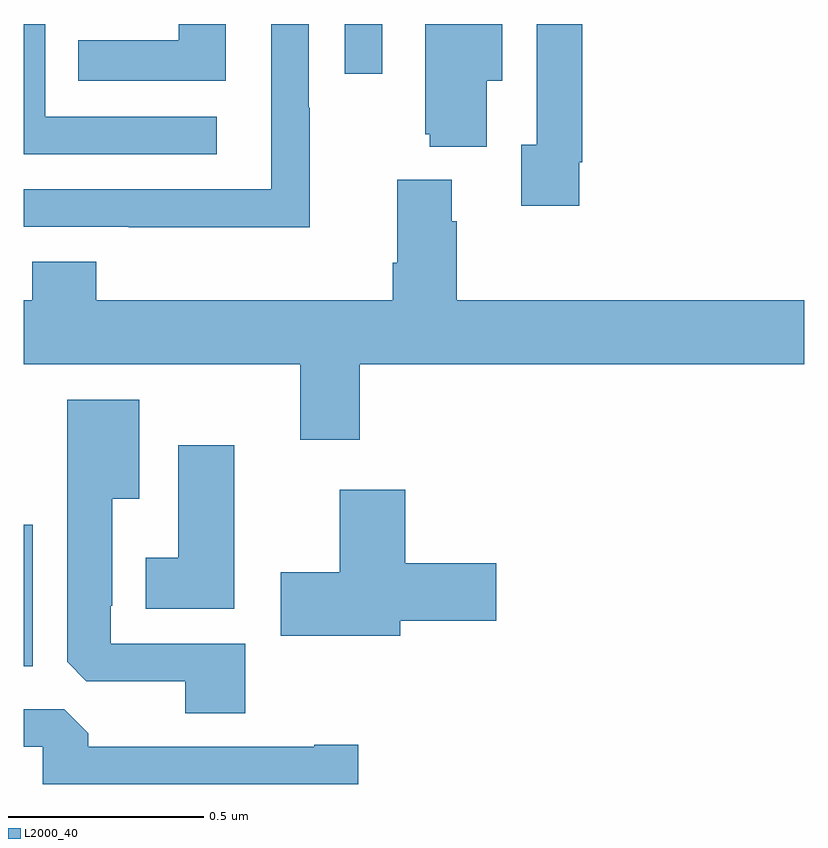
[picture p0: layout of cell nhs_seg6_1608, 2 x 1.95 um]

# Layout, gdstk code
import gdstk
lib = gdstk.Library(unit=1e-6, precision=1e-09)
def R(c, l, rs):  # rectangles x0, y0, x1, y1
    for r in rs: c.add(gdstk.rectangle(r[:2], r[2:], *l))
def P(c, l, *ps):  # polygons
    for p in ps: c.add(gdstk.Polygon(p, *l))
L2000_40 = (2000, 40)

nhs_seg6_1608 = lib.new_cell('nhs_seg6_1608')
R(nhs_seg6_1608, L2000_40, [(131,987.854,131.023,988.216), (131.823,989.373,131.919,989.5)])
P(nhs_seg6_1608, L2000_40, [(131.733,989.285),(131.73,989.285),(131.73,989.5),(131.634,989.5),(131.634,989.076),(131,989.076),(131,988.98),(131.269,988.98),(131.269,988.979),(131.733,988.979)],
  [(132.187,989.354),(132.226,989.354),(132.226,989.5),(132.029,989.5),(132.029,989.217),(132.041,989.217),(132.041,989.186),(132.187,989.186)],
  [(131.518,989.5),(131.397,989.5),(131.397,989.458),(131.14,989.458),(131.14,989.354),(131.518,989.354)],
  [(131.494,989.262),(131.055,989.262),(131.055,989.5),(131,989.5),(131,989.166),(131.494,989.166)],
  [(132.424,989.146),(132.431,989.146),(132.431,989.5),(132.315,989.5),(132.315,989.19),(132.275,989.19),(132.275,989.034),(132.424,989.034)],
  [(131.861,988.628),(133,988.628),(133,988.792),(132.11,988.792),(132.11,988.994),(132.097,988.994),(132.097,989.101),(131.957,989.101),(131.957,988.888),(131.945,988.888),(131.945,988.792),(131.186,988.792),(131.186,988.891),(131.021,988.891),(131.021,988.792),(131,988.792),(131,988.628),(131.708,988.628),(131.708,988.434),(131.861,988.434)],
  [(131.567,987.912),(131.223,987.912),(131.223,988.009),(131.227,988.009),(131.227,988.283),(131.296,988.283),(131.296,988.537),(131.111,988.537),(131.111,987.865),(131.16,987.816),(131.414,987.816),(131.414,987.733),(131.567,987.733)],
  [(131.539,988.42),(131.396,988.42),(131.396,988.132),(131.312,988.132),(131.312,988.001),(131.539,988.001)],
  [(131.965,987.971),(132.211,987.971),(132.211,988.118),(131.978,988.118),(131.978,988.306),(131.81,988.306),(131.81,988.095),(131.658,988.095),(131.658,987.932),(131.965,987.932)],
  [(131.857,987.653),(131.744,987.653),(131.744,987.648),(131.165,987.648),(131.165,987.682),(131.103,987.744),(131,987.744),(131,987.648),(131.049,987.648),(131.049,987.552),(131.857,987.552)])

lib.write_gds('nhs_seg6_1608.gds')
